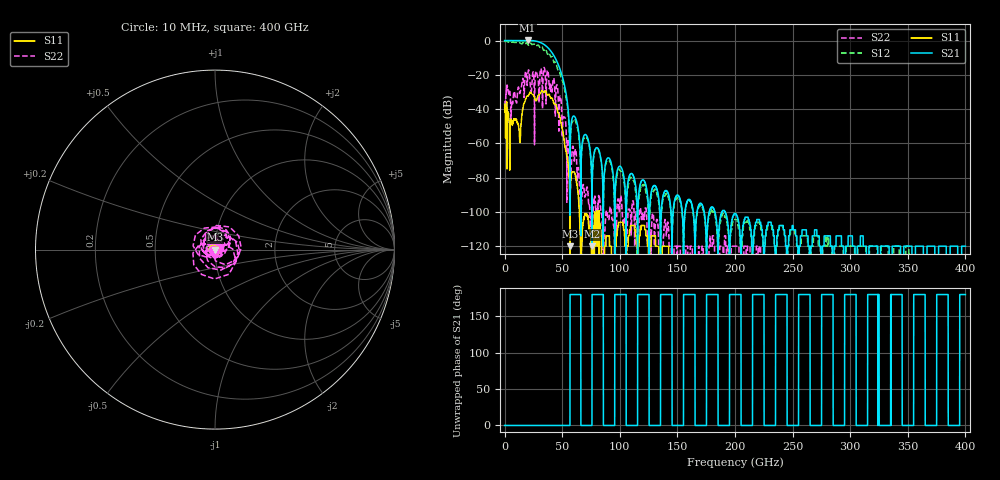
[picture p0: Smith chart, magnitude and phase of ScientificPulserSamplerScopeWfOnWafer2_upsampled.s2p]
# MHz MA S R 50.0
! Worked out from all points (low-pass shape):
!   40000 points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, 10 MHz to 400 GHz, reference 50 ohm
!   highest |S21| = 0.04 dB at 19.96 GHz (marker M1); lowest = -120.0 dB at 75.84 GHz (marker M2)
!   |S21| within 3 dB of the highest: start of sweep to 35.57 GHz
!   lowest |S11| = -120.0 dB at 56.75 GHz (marker M3), VSWR 1.00, Z = 50 + j9.79e-05 ohm
!   |S11| at or under -10 dB: start of sweep to end of sweep
!   |S22| runs from - to -15.7 dB; largest |S21 - S12| = 2
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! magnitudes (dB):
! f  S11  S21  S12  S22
! 10 MHz  -37.1  0.0  -0.2  -39.5
! 2.95 GHz  -42.0  0.0  -0.9  -29.0
! 5.78 GHz  -47.1  0.0  -1.0  -41.1
! 12.64 GHz  -53.8  0.0  -1.3  -28.9
! 19.96 GHz  -32.6  0.0  -2.1  -22.0
! 34.15 GHz  -30.4  -2.3  -5.8  -15.8
! 44.1 GHz  -37.0  -10.4  -12.5  -42.3
! 51.77 GHz  -58.9  -25.4  -27.7  -44.7
! 56.75 GHz  -120.0  -88.6  -91.1  -120.0
! 61.39 GHz  -78.4  -45.0  -46.5  -63.4
! 66.68 GHz  -120.0  -66.2  -67.6  -97.1
! 70.93 GHz  -101.9  -55.2  -56.3  -87.7
! 75.84 GHz  -  -120.0  -120.0  -
! 80.2 GHz  -101.9  -62.5  -62.9  -100.0
! 85.44 GHz  -  -88.2  -89.1  -
! 90.41 GHz  -114.0  -68.5  -69.9  -104.4
! 95.75 GHz  -  -95.9  -97.1  -120.0
! 133.3 GHz  -120.0  -90.2  -92.8  -110.5
! 200 GHz  -  -100.9  -104.4  -120.0
! 266.7 GHz  -  -120.0  -120.0  -
! 333.3 GHz  -  -120.0  -  -
! 400 GHz  -  -120.0  -  -
